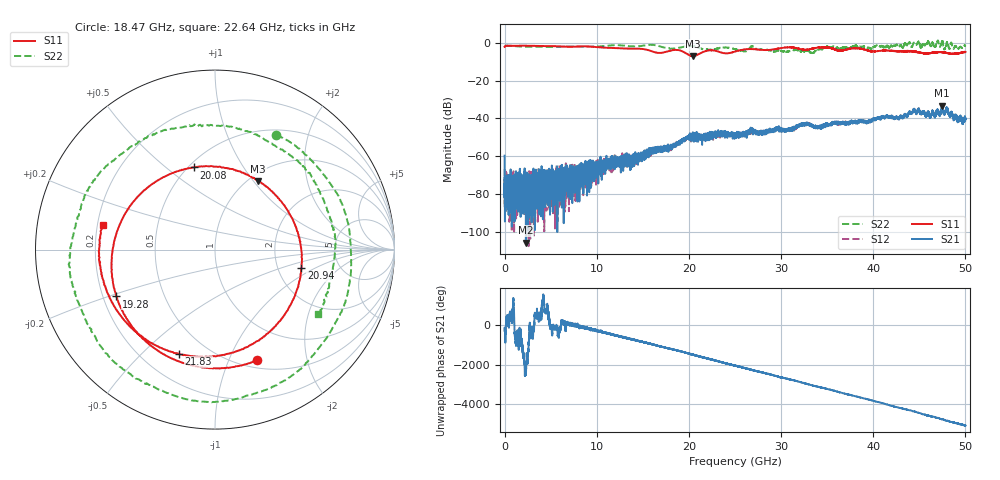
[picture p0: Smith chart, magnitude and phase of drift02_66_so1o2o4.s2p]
!Created with skrf (http://scikit-rf.org).
# Hz S RI R 50.0
!freq ReS11 ImS11 ReS21 ImS21 ReS12 ImS12 ReS22 ImS22
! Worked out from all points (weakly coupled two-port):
!   10001 points, 300 kHz to 50 GHz, reference 50 ohm
!   highest |S21| = -33.27 dB at 47.49 GHz (marker M1); lowest = -105.9 dB at 2.31 GHz (marker M2)
!   lowest |S11| = -6.9 dB at 20.41 GHz (marker M3), VSWR 2.64, Z = 55.2 + j52.8 ohm
!   |S11| at or under -10 dB: nowhere
!   |S22| runs from -5.3 to 1.4 dB; largest |S21 - S12| = 0.0035
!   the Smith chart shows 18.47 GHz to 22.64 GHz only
!   S11 on the Smith chart (normalised r, x): 18.47 GHz: 0.58, -1.27; 19.28 GHz: 0.26, -0.21; 20.08 GHz: 0.53, +0.63; 20.94 GHz: 2.70, -0.74; 21.83 GHz: 0.35, -0.65; 22.64 GHz: 0.22, +0.10
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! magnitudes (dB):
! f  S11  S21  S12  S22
! 300 kHz  -2.0  -59.7  -66.8  -1.3
! 255.3 MHz  -1.4  -86.6  -74.7  -1.4
! 2.31 GHz  -1.3  -105.9  -84.2  -1.9
! 5.695 GHz  -1.7  -70.4  -69.0  -2.0
! 8.335 GHz  -1.7  -68.5  -69.1  -1.9
! 16.67 GHz  -5.2  -56.5  -56.2  -1.5
! 18.47 GHz  -3.6  -54.2  -54.1  -2.8
! 19.28 GHz  -4.3  -51.4  -51.6  -2.1
! 20.08 GHz  -6.5  -50.6  -49.9  -1.6
! 20.41 GHz  -6.9  -50.5  -49.4  -1.8
! 20.94 GHz  -6.2  -49.1  -49.4  -2.2
! 21.83 GHz  -4.2  -49.4  -49.1  -3.5
! 22.64 GHz  -3.9  -50.1  -49.2  -3.4
! 25 GHz  -4.5  -48.6  -48.2  -3.2
! 26.11 GHz  -3.3  -48.9  -48.8  -4.3
! 26.91 GHz  -3.2  -46.8  -46.4  -1.7
! 33.34 GHz  -3.0  -43.5  -43.5  -5.1
! 34.89 GHz  -2.1  -43.9  -43.0  -2.2
! 41.67 GHz  -4.0  -39.1  -39.1  -2.1
! 44.4 GHz  -4.4  -35.0  -35.0  0.3
! 47.49 GHz  -4.9  -33.3  -33.8  1.3
! 50 GHz  -4.7  -40.1  -40.7  -1.5
